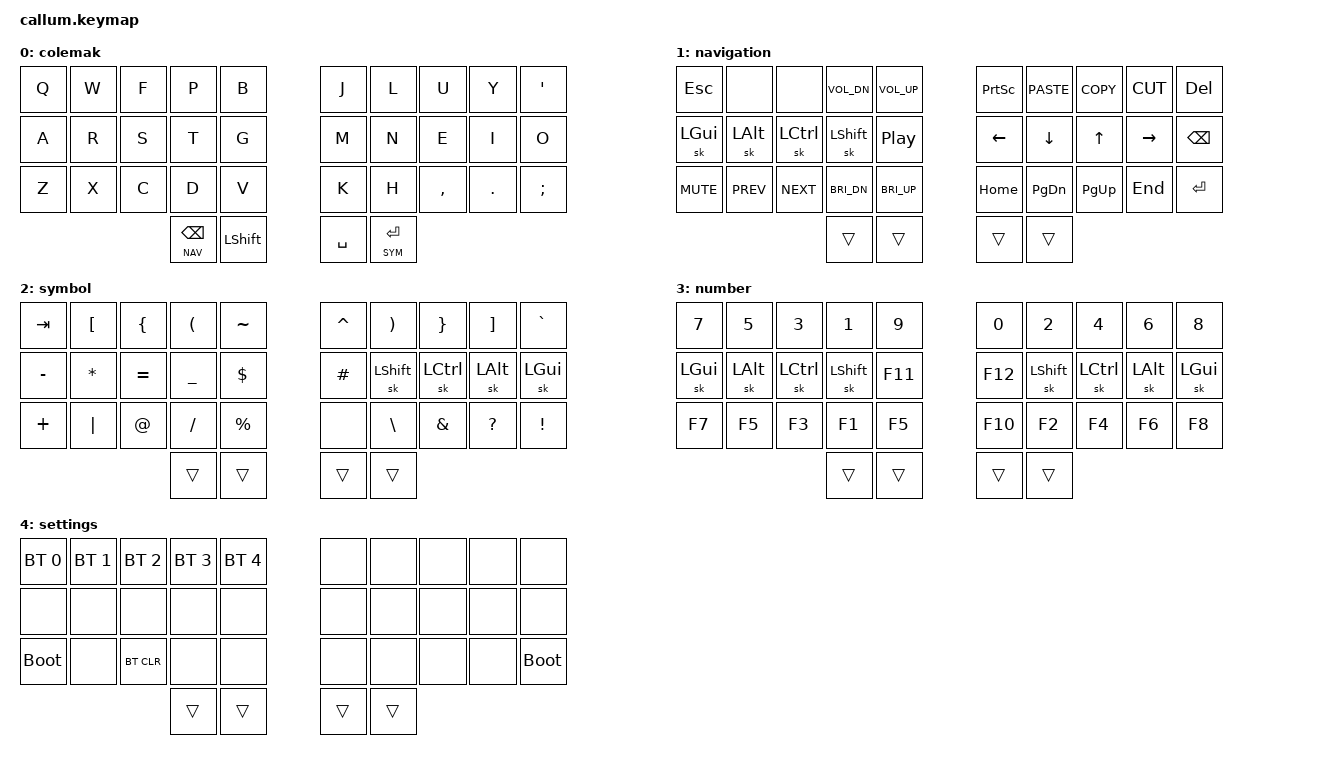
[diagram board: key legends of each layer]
#include <behaviors.dtsi>
#include <dt-bindings/zmk/keys.h>
#include <dt-bindings/zmk/bt.h>
#include <dt-bindings/zmk/outputs.h>

// Define layers
#define DEFAULT 0
#define NAV 1
#define SYM 2
#define NUM 3
#define SETTINGS 4

#define OPEN LA(LCTRL)
&sk {
    release-after-ms = <2000>;
};

/ {
    behaviors {
      lt: layer_tap {
            compatible = "zmk,behavior-hold-tap";
            #binding-cells = <2>;
            flavor = "hold-preferred";
            tapping-term-ms = <200>;
            bindings = <&mo>, <&kp>;
            quick-tap-ms = <0>;
            require-prior-idle-ms = <80>;
        };

      lt_sk: layer_tap_sticky {
          compatible = "zmk,behavior-hold-tap";
          #binding-cells = <2>;
          flavor = "hold-preferred";
          tapping-term-ms = <180>;
          bindings = <&mo>, <&sk>;
          quick-tap-ms = <0>;
          require-prior-idle-ms = <80>;
      };
    };

    combos {
        compatible = "zmk,combos";
        combo_escape{
            timeout-ms = <40>;
            key-positions = <31 32>;
            bindings = <&kp ESC>;
            require-prior-idle-ms = <100>;
        };

        combo_capword{
            timeout-ms = <40>;
            key-positions = <13 16>;
            bindings = <&caps_word>;
            require-prior-idle-ms = <100>;
        };

        combo_settings{
            timeout-ms = <40>;
            key-positions = <32 33>;
            bindings = <&mo SETTINGS>;
            require-prior-idle-ms = <100>;
        };
    };


    keymap {
        compatible = "zmk,keymap";
        colemak {
            bindings = <
                //╭──────────┬──────────┬──────────┬──────────┬──────────╮   ╭──────────┬──────────┬──────────┬──────────┬──────────╮
                //│    Q     │    W     │    F     │    P     │    B     │   │    J     │    L     │    U     │    Y     │    '     │
                    &kp Q      &kp W      &kp F      &kp P      &kp B          &kp J      &kp L     &kp U        &kp Y      &kp SQT
                //├──────────┼──────────┼──────────┼──────────┼──────────┤   ├──────────┼──────────┼──────────┼──────────┼──────────┤
                //│    A     │    R     │    S     │    T     │    G     │   │    M     │    N     │    E     │    I     │    O     │
                    &kp A      &kp R      &kp S      &kp T      &kp G          &kp M       &kp N      &kp E      &kp I      &kp O
                //├──────────┼──────────┼──────────┼──────────┼──────────┤   ├──────────┼──────────┼──────────┼──────────┼──────────┤
                //│    Z     │    X     │    C     │    D     │    V     │   │    K     │    H     │ , <      │ . >      │    ;     │
                    &kp Z       &kp X      &kp C      &kp D      &kp V         &kp K      &kp H      &kp COMMA  &kp DOT    &kp SEMI
                //╰──────────┴──────────┴──────────┼──────────┼──────────┤   ├──────────┼──────────┼──────────┴──────────┴──────────╯
                                               &lt NAV BSPC  &kp LSHFT      &kp SPACE &lt SYM ENTER
                //                                 ╰──────────┴──────────╯   ╰──────────┴──────────╯
            >;
        };
        
        navigation{
            bindings = <
                //╭──────────┬──────────┬──────────┬──────────┬──────────╮   ╭──────────┬──────────┬──────────┬──────────┬──────────╮
                //│          │          │          │          │          │   │          │          │          │          │          │
                    &kp ESC    &none      &none   &kp C_VOL_DN &kp C_VOL_UP  &kp PSCRN &kp K_PASTE &kp K_COPY &kp K_CUT &kp DEL
                //├──────────┼──────────┼──────────┼──────────┼──────────┤   ├──────────┼──────────┼──────────┼──────────┼──────────┤
                //│          │          │          │          │          │   │   left   │  down    │   up     │  right   │          │
                    &sk LGUI   &sk LALT   &sk LCTRL  &sk LSHFT &kp C_PP        &kp LEFT   &kp DOWN   &kp UP     &kp RIGHT  &kp BSPC
                //├──────────┼──────────┼──────────┼──────────┼──────────┤   ├──────────┼──────────┼──────────┼──────────┼──────────┤
                //│          │          │          │          │          │   │          │          │          │          │          │
                   &kp C_MUTE  &kp C_PREV  &kp C_NEXT &kp C_BRI_DN &kp C_BRI_UP &kp HOME  &kp PG_DN  &kp PG_UP   &kp END   &kp ENTER
                //╰──────────┴──────────┴──────────┼──────────┼──────────┤   ├──────────┼──────────┼──────────┴──────────┴──────────╯
                                                      &trans      &trans         &trans     &trans
            //                                     ╰──────────┴──────────╯   ╰──────────┴──────────╯
            >;
        };

        symbol{
            bindings = <
                //╭──────────┬──────────┬──────────┬──────────┬──────────╮   ╭──────────┬──────────┬──────────┬──────────┬──────────╮
                //│   TAB    │    [     │    {     │    (     │    ~     │   |    ^     │    )     │    }     │    ]     │    `
                    &kp TAB    &kp LBKT   &kp LBRC   &kp LPAR   &kp TILDE     &kp CARET   &kp RPAR   &kp RBRC   &kp RBKT   &kp GRAVE      
                //├──────────┼──────────┼──────────┼──────────┼──────────┤   ├──────────┼──────────┼──────────┼──────────┼──────────┤
                //│    -     │    *     │    =     │    _     │    $     │   │    #     │          │          │          │          │
                   &kp MINUS  &kp ASTRK   &kp EQUAL &kp UNDER  &kp DLLR       &kp HASH  &sk LSHFT  &sk LCTRL  &sk LALT   &sk LGUI
                //├──────────┼──────────┼──────────┼──────────┼──────────┤   ├──────────┼──────────┼──────────┼──────────┼──────────┤
                //│    +     │    |     │    @     │    /     │    %     │   │          │    \     │    &     │    \     │    !     │
                   &kp PLUS    &kp PIPE   &kp AT     &kp SLASH  &kp PERCENT     &none     &kp BSLH  &kp AMPERSAND &kp QMARK &kp EXCL
                //╰──────────┴──────────┴──────────┼──────────┼──────────┤   ├──────────┼──────────┼──────────┴──────────┴──────────╯
                                                     &trans      &trans         &trans     &trans
                //                                 ╰──────────┴──────────╯   ╰──────────┴──────────╯
            >;
        };

        number{
            bindings = <
                //╭──────────┬──────────┬──────────┬──────────┬──────────╮   ╭──────────┬──────────┬──────────┬──────────┬──────────╮
                //│    7     │    5     │    3     │    1     │    9     │   │    0     │    2     │    4     │    6     │    8     │
                     &kp N7     &kp N5     &kp N3     &kp N1     &kp N9         &kp N0     &kp N2     &kp N4     &kp N6    &kp N8
                //├──────────┼──────────┼──────────┼──────────┼──────────┤   ├──────────┼──────────┼──────────┼──────────┼──────────┤
                //│          │          │          │          │   F11    │   │   F12    │          │          │          │          │
                    &sk LGUI   &sk LALT    &sk LCTRL  &sk LSHFT &kp F11       &kp F12     &sk LSHFT  &sk LCTRL  &sk LALT   &sk LGUI
                //├──────────┼──────────┼──────────┼──────────┼──────────┤   ├──────────┼──────────┼──────────┼──────────┼──────────┤
                //│    F7    │    F5    │    F3    │    F1    │    F5    │   │          │          │          │          │          │
                     &kp F7     &kp F5     &kp F3     &kp F1     &kp F5         &kp F10   &kp F2     &kp F4     &kp F6    &kp F8
                //╰──────────┴──────────┴──────────┼──────────┼──────────┤   ├──────────┼──────────┼──────────┴──────────┴──────────╯
                                                     &trans      &trans         &trans     &trans
                //                                 ╰──────────┴──────────╯   ╰──────────┴──────────╯
            >;
        };

           settings {
            bindings = <
                //╭──────────┬──────────┬──────────┬──────────┬──────────╮   ╭──────────┬──────────┬──────────┬──────────┬──────────╮
                //│          │          │          │          │          │   │          │          │          │          │          │
                 &bt BT_SEL 0 &bt BT_SEL 1 &bt BT_SEL 2 &bt BT_SEL 3 &bt BT_SEL 4 &none   &none      &none      &none      &none
                //├──────────┼──────────┼──────────┼──────────┼──────────┤   ├──────────┼──────────┼──────────┼──────────┼──────────┤
                //│          │          │          │          │          │   │          │          │          │          │          │
                     &none      &none     &none       &none      &none           &none       &none      &none      &none     &none
                //├──────────┼──────────┼──────────┼──────────┼──────────┤   ├──────────┼──────────┼──────────┼──────────┼──────────┤
                //│          │          │          │          │          │   │          │          │          │          │          │
                  &bootloader   &none    &bt BT_CLR   &none      &none          &none      &none      &none      &none     &bootloader
                //╰──────────┴──────────┴──────────┼──────────┼──────────┤   ├──────────┼──────────┼──────────┴──────────┴──────────╯
                                                     &trans      &trans         &trans     &trans
                //                                 ╰──────────┴──────────╯   ╰──────────┴──────────╯
            >;
        };
    };

 conditional_layers {
        compatible = "zmk,conditional-layers";
        tri_layer {
            if-layers = <1 2>;
            then-layer = <3>;
        };
    };
};
